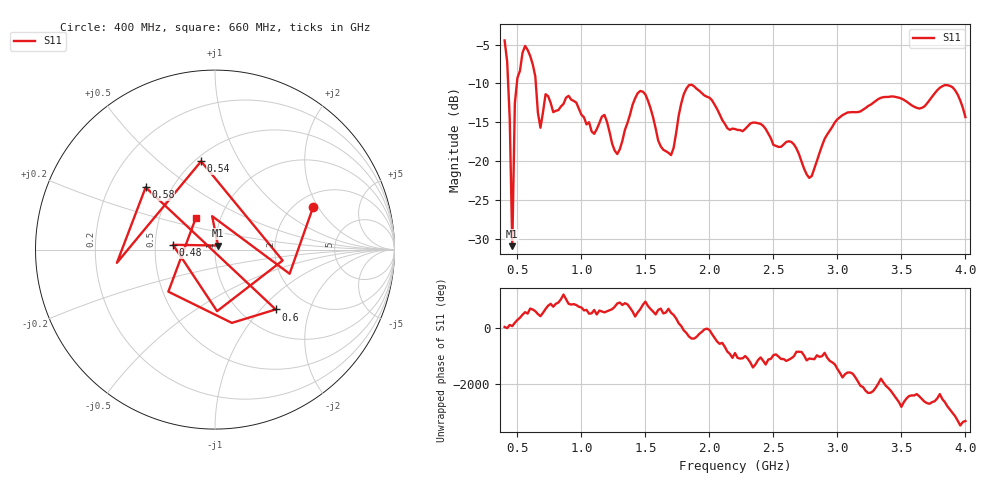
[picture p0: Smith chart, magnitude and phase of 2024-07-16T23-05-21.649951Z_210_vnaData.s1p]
!Created with skrf (http://scikit-rf.org).
# Hz S RI R 50.0
!freq ReS11 ImS11
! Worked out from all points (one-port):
!   181 points, 400 MHz to 4 GHz, reference 50 ohm
!   lowest |S11| = -31.0 dB at 460 MHz (marker M1), VSWR 1.06, Z = 51.7 + j2.34 ohm
!   |S11| at or under -10 dB: 427.6 MHz to 495.6 MHz (68.03 MHz wide, 14.7 % of centre); 643.8 MHz to end of sweep
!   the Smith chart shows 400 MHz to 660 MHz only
!   S11 on the Smith chart (normalised r, x): 400 MHz: 2.45, +1.83; 480 MHz: 0.62, +0.04; 540 MHz: 0.54, +0.70; 580 MHz: 0.36, +0.34; 600 MHz: 1.41, -1.21; 660 MHz: 0.76, +0.28
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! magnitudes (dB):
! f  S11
! 400 MHz  -4.5
! 420 MHz  -7.2
! 440 MHz  -14.6
! 460 MHz  -31.0
! 480 MHz  -12.6
! 540 MHz  -6.1
! 580 MHz  -5.7
! 600 MHz  -6.5
! 640 MHz  -9.1
! 660 MHz  -13.8
! 680 MHz  -15.7
! 720 MHz  -11.4
! 860 MHz  -12.6
! 1.1 GHz  -16.5
! 1.18 GHz  -14.1
! 1.3 GHz  -18.5
! 1.46 GHz  -11.0
! 1.7 GHz  -19.2
! 1.76 GHz  -14.1
! 1.86 GHz  -10.2
! 2.2 GHz  -15.9
! 2.66 GHz  -17.8
! 2.78 GHz  -22.2
! 2.92 GHz  -16.6
! 3.1 GHz  -13.7
! 3.56 GHz  -12.6
! 3.86 GHz  -10.2
! 4 GHz  -14.3
